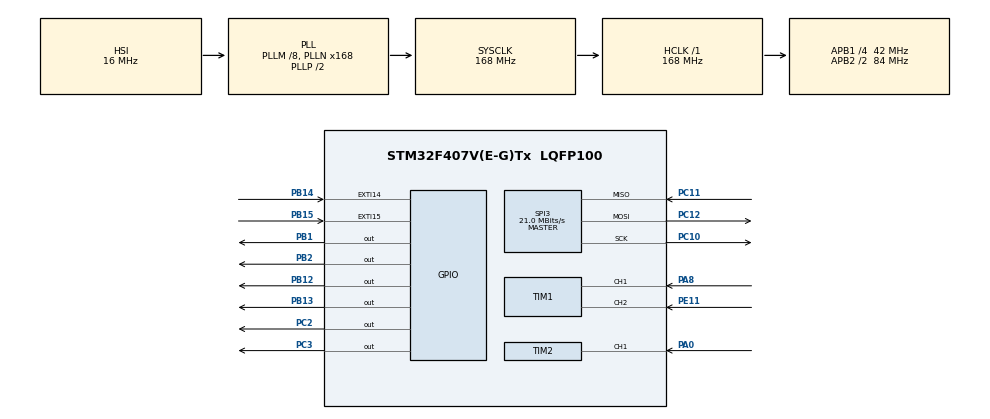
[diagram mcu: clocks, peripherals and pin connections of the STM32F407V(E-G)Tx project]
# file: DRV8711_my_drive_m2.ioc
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Mcu.Family=STM32F4
Mcu.Name=STM32F407V(E-G)Tx
Mcu.Package=LQFP100
NVIC.PriorityGroup=NVIC_PRIORITYGROUP_4
PA0-WKUP.Signal=S_TIM2_CH1_ETR
PA8.Signal=S_TIM1_CH1
PB1.Signal=GPIO_Output
PB12.Signal=GPIO_Output
PB13.Signal=GPIO_Output
PB14.Signal=GPXTI14
PB15.Signal=GPXTI15
PB2.Signal=GPIO_Output
PC10.Mode=Full_Duplex_Master
PC10.Signal=SPI3_SCK
PC11.Mode=Full_Duplex_Master
PC11.Signal=SPI3_MISO
PC12.Mode=Full_Duplex_Master
PC12.Signal=SPI3_MOSI
PC2.Signal=GPIO_Output
PC3.Signal=GPIO_Output
PE11.Signal=S_TIM1_CH2
ProjectManager.HeapSize=0x200
ProjectManager.StackSize=0x400
ProjectManager.TargetToolchain=STM32CubeIDE
RCC.48MHZClocksFreq_Value=84000000
RCC.AHBFreq_Value=168000000
RCC.APB1CLKDivider=RCC_HCLK_DIV4
RCC.APB1Freq_Value=42000000
RCC.APB1TimFreq_Value=84000000
RCC.APB2CLKDivider=RCC_HCLK_DIV2
RCC.APB2Freq_Value=84000000
RCC.APB2TimFreq_Value=168000000
RCC.CortexFreq_Value=168000000
RCC.HCLKFreq_Value=168000000
RCC.HSE_VALUE=25000000
RCC.HSI_VALUE=16000000
RCC.LSE_VALUE=32768
RCC.PLLM=8
RCC.PLLN=168
RCC.SYSCLKFreq_VALUE=168000000
RCC.SYSCLKSource=RCC_SYSCLKSOURCE_PLLCLK
RCC.VCOOutputFreq_Value=336000000
SH.S_TIM1_CH1.0=TIM1_CH1,Encoder_Interface
SH.S_TIM1_CH2.0=TIM1_CH2,Encoder_Interface
SH.S_TIM2_CH1_ETR.0=TIM2_CH1,TriggerSource_TI1FP1
SPI3.CalculateBaudRate=21.0 MBits/s
SPI3.Direction=SPI_DIRECTION_2LINES
SPI3.Mode=SPI_MODE_MASTER
SPI3.VirtualType=VM_MASTER
TIM1.IC1Filter=10
TIM1.IC2Filter=10
TIM11.Period=100
TIM11.Prescaler=168-1
TIM12.Period=100-1
TIM12.Prescaler=42000-1
TIM4.Prescaler=42-1
VP_TIM11_VS_ClockSourceINT.Mode=Enable_Timer
VP_TIM12_VS_ClockSourceINT.Mode=Internal
VP_TIM2_VS_ControllerModeClock.Mode=Clock Mode
VP_TIM4_VS_ClockSourceINT.Mode=Internal
board=custom

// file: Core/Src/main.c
/* USER CODE BEGIN Header */
/**
 ******************************************************************************
 * @file           : main.c
 * @brief          : Main program body
 ******************************************************************************
 * @attention
 *
 * Copyright (c) 2024 STMicroelectronics.
 * All rights reserved.
 *
 * This software is licensed under terms that can be found in the LICENSE file
 * in the root directory of this software component.
 * If no LICENSE file comes with this software, it is provided AS-IS.
 *
 ******************************************************************************
 */
/* USER CODE END Header */
#include "main.h"

SPI_HandleTypeDef hspi3;

TIM_HandleTypeDef htim1;
TIM_HandleTypeDef htim2;
TIM_HandleTypeDef htim4;
TIM_HandleTypeDef htim11;
TIM_HandleTypeDef htim12;

/* USER CODE BEGIN PV */

#define ZIG_DIAMETER 4.5
#define STROCKLENGTH 16 //in cm
#define STROCK_PER_MINUTE 120 // strick per minute we want to set in
// Define the number of steps per revolution of the stepper motor
#define STEPS_PER_REV 48
// Define the number of microsteps per step
#define MICROSTEPS 4

//phase of acceleration
#define acce_Acceleration_Phase1 0
#define const_Posi_Acceleration_Phase 1
#define deacce_Acceleration_Phase1 2
#define zero_Acceleration_Phase 3
#define deacce_Acceleration_Phase2 4
#define const_Neg_Acceleration_Phase 5
#define acce_Acceleration_Phase2 6

//Basic parameter START

const uint32_t HIGH_Pulse_Width = 7; // in µs
uint32_t one_Rotation_Time; //in ms
float one_Rotation_Length;
uint32_t one_Rotation_MicroStep;

float one_MicroStep_Length;
uint32_t one_Step_Length;
float one_MicroStep_Time;
uint32_t one_Step_Time;

uint32_t Strock_Time; //in ms
uint32_t one_Strock_No_Of_Angle;
uint32_t one_Strock_No_Of_Steps;

uint32_t one_Strock_No_Of_MicroSteps;

//  uint32_t step_In_Incresing_Velocity_Phase;
//  uint32_t step_In_Const_Velocity_Phase;

//Basic parameter END
//Time paramter START

uint32_t percentage_Accelerate_Acceleration = 5; //i %
uint32_t percentage_Const_postive_Acceleration = 10; //i %
uint32_t percentage_Zero_Acceleration = 60; //i %

float time_On_Acce_Acce1_Phase;
float time_On_Const_Pos_Acce_Phase;
float time_On_Deacce_Acce1_Phase;
float time_On_Zero_Acce_Phase;
float time_On_Deacce_Acce2_Phase;
float time_On_Const_Neg_Acce_Phase;
float time_On_Acce_Acce2_Phase;

float distance_On_Acce_Acce1_Phase;
float distance_On_Const_Pos_Acce_Phase;
float distance_On_Deacce_Acce1_Phase;
float distance_On_Zero_Acce_Phase;
float distance_On_Deacce_Acce2_Phase;
float distance_On_Const_Neg_Acce_Phase;
float distance_On_Acce_Acce2_Phase;

//Time paramter END
//velocity parameter START

//const variable

uint32_t step_In_Const_Pos_Neg_Acceleration_Phase;
uint32_t step_In_Zero_Acceleration_Phase;
uint32_t step_In_Accelerate_Acceleration_Phase;
uint32_t step_In_Deaccelerate_Acceleration_Phase;

uint32_t step_Acce_Acce1_Phase;
uint32_t step_Const_Pos_Acce_Phase;
uint32_t step_Deacce_Acce1_Phase;
uint32_t step_Zero_Acce_Phase;
uint32_t step_Deacce_Acce2_Phase;
uint32_t step_Const_Neg_Acce_Phase;
uint32_t step_Acce_Acce2_Phase;

uint32_t no_Of_step_Deacce_velocity_phase;
uint32_t no_Of_step_Const_velocity_phase;
uint32_t no_Of_step_Acce_velocity_phase;
uint32_t temp = 0;
uint32_t temp2 = 0;
uint32_t temp3 = 0;
uint32_t temp4 = 0;
uint32_t temp5 = 0;
uint32_t tempA = 0;
uint32_t tempB = 0;
uint32_t tempC = 0;
uint32_t tempD = 0;
uint32_t tempE = 0;
uint32_t tempF = 0;
uint32_t tempG = 0;

//velocity parameter END

//Acceleration Varible START
float acce_Acceleration_Rate;
float deacce_Acceleration_Rate;
float const_Posi_Acceleration_Rate;
float const_Neg_Acceleration_Rate;

//float
//float

//#define  20*one_MicroStep_Length
//#define  20*one_MicroStep_Length

//uint32_t
//uint32_t
//uint32_t
//uint32_t
//uint32_t

//Acceleration parameter END

//changing variables

//uint8_t veloci_Phase;
volatile uint16_t acceleration_Phase = 0;
volatile uint32_t ceilDelay;
volatile float delay = 0;
volatile float prevPos = 0;
volatile float currPos = 0;
volatile float currStep = 0;
volatile float currVelocity = 0;
volatile float currAcceleration = 0;
volatile float timer = 0;
volatile uint8_t goOnFlag = 1;
/* USER CODE END PV */

void SystemClock_Config(void);
static void MX_GPIO_Init(void);
static void MX_SPI3_Init(void);
static void MX_TIM1_Init(void);
static void MX_TIM2_Init(void);
static void MX_TIM4_Init(void);
static void MX_TIM11_Init(void);
static void MX_TIM12_Init(void);

/* USER CODE BEGIN 0 */

void delay_us(uint32_t us) {
	__HAL_TIM_SET_COUNTER(&htim11, 0);  // set the counter value a 0
	while (__HAL_TIM_GET_COUNTER(&htim11) < us)
		;  // wait for the counter to reach the us input in the parameter
}

void calcdelay(uint32_t prevPos, uint32_t currPos) {
	//	Delay = 100 / ceiling[(prePos - currPos) / (OneUStep_distance)] - HIGH_pulse_width
	volatile float tempii = (currPos - prevPos) / (one_MicroStep_Length);
	delay = HIGH_Pulse_Width - (100 / tempii);
}
void calBasicForRotation() {
	temp2 = 101;
	one_Rotation_Length = ZIG_DIAMETER * 3.14159;
	one_Rotation_MicroStep = STEPS_PER_REV * MICROSTEPS;
	one_Rotation_Time = (one_Rotation_Length * 60000)
			/ (STROCK_PER_MINUTE * STROCKLENGTH); // in milisecond

	//	1 Strock calculation
	one_Strock_No_Of_Angle = STROCKLENGTH * 360 / one_Rotation_Length;
	one_Strock_No_Of_Steps = STROCKLENGTH * STEPS_PER_REV / one_Rotation_Length;
	one_Strock_No_Of_MicroSteps = one_Strock_No_Of_Steps * MICROSTEPS + 1;
	Strock_Time = 60000 / STROCK_PER_MINUTE; // in ms

	// 1 step
//	one_Step_Length = one_Rotation_Length / STEPS_PER_REV;
//	one_Step_Time = 1.0 * Strock_Time / STEPS_PER_REV; // in ms

	// 1µstep
	one_MicroStep_Length = one_Rotation_Length / one_Rotation_MicroStep; // in cm
	one_MicroStep_Time = 1.0 * Strock_Time / one_Strock_No_Of_MicroSteps; // in ms

}
void calStepInVelocityPhase() {
	temp3 = 66;
	step_In_Accelerate_Acceleration_Phase = 1
			+ (percentage_Accelerate_Acceleration * one_Strock_No_Of_MicroSteps
					/ 100);
	step_In_Deaccelerate_Acceleration_Phase =
			step_In_Accelerate_Acceleration_Phase;

	step_In_Zero_Acceleration_Phase =
			1
					+ (percentage_Zero_Acceleration
							* one_Strock_No_Of_MicroSteps / 100);
	step_In_Const_Pos_Neg_Acceleration_Phase =
			(percentage_Const_postive_Acceleration * one_Strock_No_Of_MicroSteps
					/ 100);

	no_Of_step_Acce_velocity_phase = 2 * step_In_Accelerate_Acceleration_Phase
			+ step_In_Const_Pos_Neg_Acceleration_Phase;
	no_Of_step_Const_velocity_phase = step_In_Zero_Acceleration_Phase;
	no_Of_step_Deacce_velocity_phase = 2 * step_In_Accelerate_Acceleration_Phase
			+ step_In_Const_Pos_Neg_Acceleration_Phase;

//	void calStepCounters() {

	step_Acce_Acce1_Phase = step_In_Accelerate_Acceleration_Phase + 1;
	step_Const_Pos_Acce_Phase = step_In_Const_Pos_Neg_Acceleration_Phase
			+ step_Acce_Acce1_Phase + 1;
	step_Deacce_Acce1_Phase = step_In_Accelerate_Acceleration_Phase
			+ step_Const_Pos_Acce_Phase + 1;
	step_Zero_Acce_Phase = step_In_Zero_Acceleration_Phase
			+ step_Deacce_Acce1_Phase;
	step_Deacce_Acce2_Phase = step_In_Accelerate_Acceleration_Phase
			+ step_Zero_Acce_Phase + 1;
	step_Const_Neg_Acce_Phase = step_In_Const_Pos_Neg_Acceleration_Phase
			+ step_Deacce_Acce2_Phase + 1;
	step_Acce_Acce2_Phase = step_In_Accelerate_Acceleration_Phase
			+ step_Const_Neg_Acce_Phase + 1;
//	}

//	void calTimePerPhase() {
	time_On_Acce_Acce1_Phase = 1.0
			* (percentage_Accelerate_Acceleration * Strock_Time / 100);
	time_On_Const_Pos_Acce_Phase = time_On_Acce_Acce1_Phase
			+ 1.0 * (percentage_Const_postive_Acceleration * Strock_Time / 100);
	time_On_Deacce_Acce1_Phase = time_On_Const_Pos_Acce_Phase
			+ 1.0 * (percentage_Accelerate_Acceleration * Strock_Time / 100);
	time_On_Zero_Acce_Phase = time_On_Deacce_Acce1_Phase
			+ 1.0 * (percentage_Zero_Acceleration * Strock_Time / 100);
	time_On_Deacce_Acce2_Phase = time_On_Zero_Acce_Phase
			+ 1.0 * (percentage_Accelerate_Acceleration * Strock_Time / 100);
	time_On_Const_Neg_Acce_Phase = time_On_Deacce_Acce2_Phase
			+ 1.0 * (percentage_Const_postive_Acceleration * Strock_Time / 100);
	time_On_Acce_Acce2_Phase = time_On_Const_Neg_Acce_Phase
			+ 1.0 * (percentage_Accelerate_Acceleration * Strock_Time / 100);

//	}
}

void calDistancePerPhase() {

	distance_On_Acce_Acce1_Phase = 1.0 * step_In_Accelerate_Acceleration_Phase
			* one_MicroStep_Length;
	distance_On_Const_Pos_Acce_Phase = distance_On_Acce_Acce1_Phase
			+ 1.0
					* (step_In_Const_Pos_Neg_Acceleration_Phase
							* one_MicroStep_Length);
	distance_On_Deacce_Acce1_Phase = distance_On_Const_Pos_Acce_Phase
			+ 1.0
					* (step_In_Deaccelerate_Acceleration_Phase
							* one_MicroStep_Length);
	distance_On_Zero_Acce_Phase = distance_On_Deacce_Acce1_Phase
			+ 1.0 * (step_In_Zero_Acceleration_Phase * one_MicroStep_Length);
	distance_On_Deacce_Acce2_Phase = distance_On_Zero_Acce_Phase
			+ 1.0
					* (step_In_Deaccelerate_Acceleration_Phase
							* one_MicroStep_Length);
	distance_On_Const_Neg_Acce_Phase = distance_On_Deacce_Acce2_Phase
			+ 1.0
					* (step_In_Const_Pos_Neg_Acceleration_Phase
							* one_MicroStep_Length);
	distance_On_Acce_Acce2_Phase = distance_On_Const_Neg_Acce_Phase
			+ 1.0
					* (step_In_Accelerate_Acceleration_Phase
							* one_MicroStep_Length);

//	void calAccelerationParameter() {

	acce_Acceleration_Rate = 2 * distance_On_Acce_Acce1_Phase
			/ (time_On_Acce_Acce1_Phase);
	deacce_Acceleration_Rate = acce_Acceleration_Rate;

	const_Posi_Acceleration_Rate = 2 * distance_On_Const_Pos_Acce_Phase
			/ time_On_Const_Pos_Acce_Phase;
	const_Neg_Acceleration_Rate = const_Posi_Acceleration_Rate;
//	}
}

void doAllCalculation() {
	calBasicForRotation();
	calStepInVelocityPhase();
//	calStepCounters();
//	calTimePerPhase();
	calDistancePerPhase();
//	calAccelerationParameter();
}
void pulseGenerate() {
	temp = 007;
	goOnFlag = 1;
	HAL_GPIO_WritePin(GPIOB, GPIO_PIN_1, GPIO_PIN_SET);
	delay_us(HIGH_Pulse_Width);
	HAL_GPIO_WritePin(GPIOB, GPIO_PIN_1, GPIO_PIN_RESET);
	delay_us(1);

}

void triversalControl() {
	if (goOnFlag == 1) {
		goOnFlag = 0;

		for (int i = 0; i < one_Strock_No_Of_MicroSteps; i++) {
			if (currStep >= one_Strock_No_Of_MicroSteps
					&& currPos >= one_Step_Length)
				break;

			if (timer <= time_On_Acce_Acce1_Phase)
				acceleration_Phase = acce_Acceleration_Phase1;
			else if (timer <= time_On_Const_Pos_Acce_Phase)
				acceleration_Phase = const_Posi_Acceleration_Phase;
			else if (timer <= time_On_Deacce_Acce1_Phase)
				acceleration_Phase = deacce_Acceleration_Phase1;
			else if (timer <= time_On_Zero_Acce_Phase)
				acceleration_Phase = zero_Acceleration_Phase;
			else if (timer <= time_On_Deacce_Acce2_Phase)
				acceleration_Phase = deacce_Acceleration_Phase2;
			else if (timer <= time_On_Const_Neg_Acce_Phase)
				acceleration_Phase = const_Neg_Acceleration_Phase;
			else if (timer <= time_On_Acce_Acce2_Phase) {
				acceleration_Phase = acce_Acceleration_Phase2;
			} else {
			}
			switch (acceleration_Phase) {
			case (acce_Acceleration_Phase1): {
				tempA = 86;

				if (currStep == step_Acce_Acce1_Phase) {

					currAcceleration = const_Posi_Acceleration_Rate;
					currVelocity += currAcceleration;
					prevPos = currPos;
					currPos += currVelocity;
					currStep++;

					acceleration_Phase = const_Posi_Acceleration_Phase;

				} else if (currStep < step_Acce_Acce1_Phase) {

					currAcceleration += acce_Acceleration_Rate;
					currVelocity += currAcceleration;
					prevPos = currPos;
					currPos += currVelocity;
					currStep++;

				}
				//			delay_us(1);
				break;
			}
			case (const_Posi_Acceleration_Phase): {
				tempB = 86;
				if (currStep == step_Const_Pos_Acce_Phase) {

					currAcceleration -= deacce_Acceleration_Rate;
					currVelocity += currAcceleration;
					prevPos = currPos;
					currPos += currVelocity;
					currStep++;

					acceleration_Phase = deacce_Acceleration_Phase1;

				} else if (currStep < step_Const_Pos_Acce_Phase) {

					currAcceleration = const_Posi_Acceleration_Rate;
					currVelocity += currAcceleration;
					prevPos = currPos;
					currPos += currVelocity;

					currStep++;
				}
				delay_us(1);
				break;
			}
			case (deacce_Acceleration_Phase1): {
				tempC = 86;
				if (currStep == step_Deacce_Acce1_Phase) {

					currAcceleration = 0;
					currVelocity += currAcceleration;
					prevPos = currPos;
					currPos += currVelocity;
					currStep++;

					acceleration_Phase = zero_Acceleration_Phase;

				} else if (currStep < step_Deacce_Acce1_Phase) {

					currAcceleration -= deacce_Acceleration_Rate;
					currVelocity += currAcceleration;
					prevPos = currPos;
					currPos += currVelocity;
					currStep++;
				}
				break;
			}
			case (zero_Acceleration_Phase): {
				tempD = 86;
				if (currStep == step_Zero_Acce_Phase) {

					currAcceleration -= deacce_Acceleration_Rate;
					currVelocity += currAcceleration;
					prevPos = currPos;
					currPos += currVelocity;
					currStep++;

					acceleration_Phase = deacce_Acceleration_Phase2;

				} else if (currStep < step_Zero_Acce_Phase) {

					currAcceleration = 0;
					currVelocity += currAcceleration;
					prevPos = currPos;
					currPos += currVelocity;
					currStep++;

				}
				break;
			}
			case (deacce_Acceleration_Phase2): {
				tempE = 86;
				if (currStep == step_Deacce_Acce2_Phase) {

					currAcceleration = const_Neg_Acceleration_Rate;
					currVelocity += currAcceleration;
					prevPos = currPos;
					currPos += currVelocity;
					currStep++;
					acceleration_Phase = const_Neg_Acceleration_Phase;

				} else if (currStep < step_Deacce_Acce2_Phase) {

					currAcceleration -= deacce_Acceleration_Rate;
					currVelocity += currAcceleration;
					prevPos = currPos;
					currPos += currVelocity;
					currStep++;

				}
				break;
			}
			case (const_Neg_Acceleration_Phase): {
				tempF = 86;
				if (currStep == step_Const_Neg_Acce_Phase) {

					currAcceleration -= deacce_Acceleration_Rate;
					currVelocity += currAcceleration;
					prevPos = currPos;
					currPos += currVelocity;
					currStep++;
					acceleration_Phase = acce_Acceleration_Phase2;

				} else if (currStep < step_Const_Neg_Acce_Phase) {

					currAcceleration = const_Posi_Acceleration_Rate;
					currVelocity += currAcceleration;
					prevPos = currPos;
					currPos += currVelocity;
					currStep++;
				}
				break;
			}
			case (acce_Acceleration_Phase2): {
				tempG = 86;
				if (currStep == step_Acce_Acce2_Phase) {

					currAcceleration = const_Posi_Acceleration_Rate;
					currVelocity += currAcceleration;
					prevPos = currPos;
					currPos += currVelocity;
					currStep++;

					acceleration_Phase = const_Posi_Acceleration_Phase;

				} else if (currStep < step_Acce_Acce2_Phase) {
					currAcceleration += acce_Acceleration_Rate;
					currVelocity += currAcceleration;
					prevPos = currPos;
					currPos += currVelocity;
					currStep++;
				}
				break;
			}

			} // switch end

//			delay = (uint32_t) (calcdelay(prevPos, currPos)-1);
//			pulseGenerate();

//			volatile float tempii = 1.0 * (currPos - prevPos) / (one_MicroStep_Length);
//			delay = HIGH_Pulse_Width - (100 / tempii);

			goOnFlag = 1;

			HAL_GPIO_WritePin(GPIOB, GPIO_PIN_1, GPIO_PIN_SET);
			delay_us(HIGH_Pulse_Width);
			HAL_GPIO_WritePin(GPIOB, GPIO_PIN_1, GPIO_PIN_RESET);
			calcdelay(prevPos, currPos);
			delay_us((uint32_t) delay);

//			HAL_Delay((uint32_t) delay);
			HAL_Delay(500);

		} // forloop end

	} //goonflag end

} //fxn end

/* USER CODE END 0 */

int main(void) {

	/* MCU Configuration--------------------------------------------------------*/

	/* Reset of all peripherals, Initializes the Flash interface and the Systick. */
	HAL_Init();

	/* Configure the system clock */
	SystemClock_Config();

	/* Initialize all configured peripherals */
	MX_GPIO_Init();
	MX_SPI3_Init();
	MX_TIM1_Init();
	MX_TIM2_Init();
	MX_TIM4_Init();
	MX_TIM11_Init();
	MX_TIM12_Init();
	/* USER CODE BEGIN 2 */

	// Disable the stepper motor driver
	//	GPIO_SetBits(GPIOA, ENABLE_PIN);
	// Set the current step delay to the maximum delay
	HAL_TIM_Base_Start(&htim4);
	HAL_TIM_Base_Start(&htim11);

	doAllCalculation();
	/* USER CODE END 2 */

	/* Infinite loop */
	/* USER CODE BEGIN WHILE */
	while (1) {

//		triversalControl();

		HAL_Delay(50);
		/* USER CODE END WHILE */

	}
}

void SystemClock_Config(void) {
	RCC_OscInitTypeDef RCC_OscInitStruct = { 0 };
	RCC_ClkInitTypeDef RCC_ClkInitStruct = { 0 };

	/** Configure the main internal regulator output voltage
	 */
	__HAL_RCC_PWR_CLK_ENABLE();
	__HAL_PWR_VOLTAGESCALING_CONFIG(PWR_REGULATOR_VOLTAGE_SCALE1);

	/** Initializes the RCC Oscillators according to the specified parameters
	 * in the RCC_OscInitTypeDef structure.
	 */
	RCC_OscInitStruct.OscillatorType = RCC_OSCILLATORTYPE_HSI;
	RCC_OscInitStruct.HSIState = RCC_HSI_ON;
	RCC_OscInitStruct.HSICalibrationValue = RCC_HSICALIBRATION_DEFAULT;
	RCC_OscInitStruct.PLL.PLLState = RCC_PLL_ON;
	RCC_OscInitStruct.PLL.PLLSource = RCC_PLLSOURCE_HSI;
	RCC_OscInitStruct.PLL.PLLM = 8;
	RCC_OscInitStruct.PLL.PLLN = 168;
	RCC_OscInitStruct.PLL.PLLP = RCC_PLLP_DIV2;
	RCC_OscInitStruct.PLL.PLLQ = 4;
	if (HAL_RCC_OscConfig(&RCC_OscInitStruct) != HAL_OK) {
		Error_Handler();
	}

	/** Initializes the CPU, AHB and APB buses clocks
	 */
	RCC_ClkInitStruct.ClockType = RCC_CLOCKTYPE_HCLK | RCC_CLOCKTYPE_SYSCLK
			| RCC_CLOCKTYPE_PCLK1 | RCC_CLOCKTYPE_PCLK2;
	RCC_ClkInitStruct.SYSCLKSource = RCC_SYSCLKSOURCE_PLLCLK;
	RCC_ClkInitStruct.AHBCLKDivider = RCC_SYSCLK_DIV1;
	RCC_ClkInitStruct.APB1CLKDivider = RCC_HCLK_DIV4;
	RCC_ClkInitStruct.APB2CLKDivider = RCC_HCLK_DIV2;

	if (HAL_RCC_ClockConfig(&RCC_ClkInitStruct, FLASH_LATENCY_5) != HAL_OK) {
		Error_Handler();
	}
}

static void MX_SPI3_Init(void) {

	/* SPI3 parameter configuration*/
	hspi3.Instance = SPI3;
	hspi3.Init.Mode = SPI_MODE_MASTER;
	hspi3.Init.Direction = SPI_DIRECTION_2LINES;
	hspi3.Init.DataSize = SPI_DATASIZE_8BIT;
	hspi3.Init.CLKPolarity = SPI_POLARITY_LOW;
	hspi3.Init.CLKPhase = SPI_PHASE_1EDGE;
	hspi3.Init.NSS = SPI_NSS_SOFT;
	hspi3.Init.BaudRatePrescaler = SPI_BAUDRATEPRESCALER_2;
	hspi3.Init.FirstBit = SPI_FIRSTBIT_MSB;
	hspi3.Init.TIMode = SPI_TIMODE_DISABLE;
	hspi3.Init.CRCCalculation = SPI_CRCCALCULATION_DISABLE;
	hspi3.Init.CRCPolynomial = 10;
	if (HAL_SPI_Init(&hspi3) != HAL_OK) {
		Error_Handler();
	}

}

static void MX_TIM1_Init(void) {

	TIM_Encoder_InitTypeDef sConfig = { 0 };
	TIM_MasterConfigTypeDef sMasterConfig = { 0 };

	htim1.Instance = TIM1;
	htim1.Init.Prescaler = 0;
	htim1.Init.CounterMode = TIM_COUNTERMODE_UP;
	htim1.Init.Period = 65535;
	htim1.Init.ClockDivision = TIM_CLOCKDIVISION_DIV1;
	htim1.Init.RepetitionCounter = 0;
	htim1.Init.AutoReloadPreload = TIM_AUTORELOAD_PRELOAD_DISABLE;
	sConfig.EncoderMode = TIM_ENCODERMODE_TI1;
	sConfig.IC1Polarity = TIM_ICPOLARITY_RISING;
	sConfig.IC1Selection = TIM_ICSELECTION_DIRECTTI;
	sConfig.IC1Prescaler = TIM_ICPSC_DIV1;
	sConfig.IC1Filter = 10;
	sConfig.IC2Polarity = TIM_ICPOLARITY_RISING;
	sConfig.IC2Selection = TIM_ICSELECTION_DIRECTTI;
	sConfig.IC2Prescaler = TIM_ICPSC_DIV1;
	sConfig.IC2Filter = 10;
	if (HAL_TIM_Encoder_Init(&htim1, &sConfig) != HAL_OK) {
		Error_Handler();
	}
	sMasterConfig.MasterOutputTrigger = TIM_TRGO_RESET;
	sMasterConfig.MasterSlaveMode = TIM_MASTERSLAVEMODE_DISABLE;
	if (HAL_TIMEx_MasterConfigSynchronization(&htim1, &sMasterConfig)
			!= HAL_OK) {
		Error_Handler();
	}

}

static void MX_TIM2_Init(void) {

	TIM_SlaveConfigTypeDef sSlaveConfig = { 0 };
	TIM_MasterConfigTypeDef sMasterConfig = { 0 };

	htim2.Instance = TIM2;
	htim2.Init.Prescaler = 0;
	htim2.Init.CounterMode = TIM_COUNTERMODE_UP;
	htim2.Init.Period = 4294967295;
	htim2.Init.ClockDivision = TIM_CLOCKDIVISION_DIV1;
	htim2.Init.AutoReloadPreload = TIM_AUTORELOAD_PRELOAD_DISABLE;
	if (HAL_TIM_Base_Init(&htim2) != HAL_OK) {
		Error_Handler();
	}
	sSlaveConfig.SlaveMode = TIM_SLAVEMODE_EXTERNAL1;
	sSlaveConfig.InputTrigger = TIM_TS_TI1FP1;
	sSlaveConfig.TriggerPolarity = TIM_TRIGGERPOLARITY_RISING;
	sSlaveConfig.TriggerFilter = 0;
	if (HAL_TIM_SlaveConfigSynchro(&htim2, &sSlaveConfig) != HAL_OK) {
		Error_Handler();
	}
	sMasterConfig.MasterOutputTrigger = TIM_TRGO_RESET;
	sMasterConfig.MasterSlaveMode = TIM_MASTERSLAVEMODE_DISABLE;
	if (HAL_TIMEx_MasterConfigSynchronization(&htim2, &sMasterConfig)
			!= HAL_OK) {
		Error_Handler();
	}

}

static void MX_TIM4_Init(void) {

	TIM_ClockConfigTypeDef sClockSourceConfig = { 0 };
	TIM_MasterConfigTypeDef sMasterConfig = { 0 };

	htim4.Instance = TIM4;
	htim4.Init.Prescaler = 42 - 1;
	htim4.Init.CounterMode = TIM_COUNTERMODE_UP;
	htim4.Init.Period = 65535;
	htim4.Init.ClockDivision = TIM_CLOCKDIVISION_DIV1;
	htim4.Init.AutoReloadPreload = TIM_AUTORELOAD_PRELOAD_DISABLE;
	if (HAL_TIM_Base_Init(&htim4) != HAL_OK) {
		Error_Handler();
	}
	sClockSourceConfig.ClockSource = TIM_CLOCKSOURCE_INTERNAL;
	if (HAL_TIM_ConfigClockSource(&htim4, &sClockSourceConfig) != HAL_OK) {
		Error_Handler();
	}
	sMasterConfig.MasterOutputTrigger = TIM_TRGO_RESET;
	sMasterConfig.MasterSlaveMode = TIM_MASTERSLAVEMODE_DISABLE;
	if (HAL_TIMEx_MasterConfigSynchronization(&htim4, &sMasterConfig)
			!= HAL_OK) {
		Error_Handler();
	}

}

static void MX_TIM11_Init(void) {

	htim11.Instance = TIM11;
	htim11.Init.Prescaler = 168 - 1;
	htim11.Init.CounterMode = TIM_COUNTERMODE_UP;
	htim11.Init.Period = 100;
	htim11.Init.ClockDivision = TIM_CLOCKDIVISION_DIV1;
	htim11.Init.AutoReloadPreload = TIM_AUTORELOAD_PRELOAD_DISABLE;
	if (HAL_TIM_Base_Init(&htim11) != HAL_OK) {
		Error_Handler();
	}

}

static void MX_TIM12_Init(void) {

	TIM_ClockConfigTypeDef sClockSourceConfig = { 0 };

	htim12.Instance = TIM12;
	htim12.Init.Prescaler = 42000 - 1;
	htim12.Init.CounterMode = TIM_COUNTERMODE_UP;
	htim12.Init.Period = 100 - 1;
	htim12.Init.ClockDivision = TIM_CLOCKDIVISION_DIV1;
	htim12.Init.AutoReloadPreload = TIM_AUTORELOAD_PRELOAD_DISABLE;
	if (HAL_TIM_Base_Init(&htim12) != HAL_OK) {
		Error_Handler();
	}
	sClockSourceConfig.ClockSource = TIM_CLOCKSOURCE_INTERNAL;
	if (HAL_TIM_ConfigClockSource(&htim12, &sClockSourceConfig) != HAL_OK) {
		Error_Handler();
	}

}

static void MX_GPIO_Init(void) {
	GPIO_InitTypeDef GPIO_InitStruct = { 0 };

	/* GPIO Ports Clock Enable */
	__HAL_RCC_GPIOC_CLK_ENABLE();
	__HAL_RCC_GPIOA_CLK_ENABLE();
	__HAL_RCC_GPIOB_CLK_ENABLE();
	__HAL_RCC_GPIOE_CLK_ENABLE();

	/*Configure GPIO pin Output Level */
	HAL_GPIO_WritePin(GPIOC, GPIO_PIN_2 | GPIO_PIN_3, GPIO_PIN_RESET);

	/*Configure GPIO pin Output Level */
	HAL_GPIO_WritePin(GPIOB,
	GPIO_PIN_1 | GPIO_PIN_2 | GPIO_PIN_12 | GPIO_PIN_13, GPIO_PIN_RESET);

	/*Configure GPIO pins : PC2 PC3 */
	GPIO_InitStruct.Pin = GPIO_PIN_2 | GPIO_PIN_3;
	GPIO_InitStruct.Mode = GPIO_MODE_OUTPUT_PP;
	GPIO_InitStruct.Pull = GPIO_NOPULL;
	GPIO_InitStruct.Speed = GPIO_SPEED_FREQ_LOW;
	HAL_GPIO_Init(GPIOC, &GPIO_InitStruct);

	/*Configure GPIO pins : PB1 PB2 PB12 PB13 */
	GPIO_InitStruct.Pin = GPIO_PIN_1 | GPIO_PIN_2 | GPIO_PIN_12 | GPIO_PIN_13;
	GPIO_InitStruct.Mode = GPIO_MODE_OUTPUT_PP;
	GPIO_InitStruct.Pull = GPIO_NOPULL;
	GPIO_InitStruct.Speed = GPIO_SPEED_FREQ_LOW;
	HAL_GPIO_Init(GPIOB, &GPIO_InitStruct);

	/*Configure GPIO pins : PB14 PB15 */
	GPIO_InitStruct.Pin = GPIO_PIN_14 | GPIO_PIN_15;
	GPIO_InitStruct.Mode = GPIO_MODE_IT_RISING;
	GPIO_InitStruct.Pull = GPIO_NOPULL;
	HAL_GPIO_Init(GPIOB, &GPIO_InitStruct);

}

void Error_Handler(void) {
	__disable_irq();
	while (1) {
	}
}
